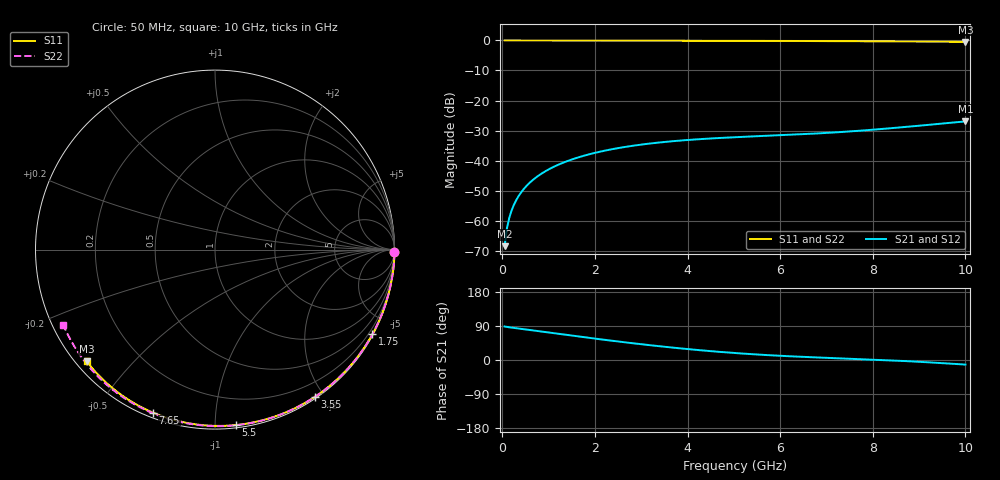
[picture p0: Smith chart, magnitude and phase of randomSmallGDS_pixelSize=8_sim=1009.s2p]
! freq	dB(S11)	phase(S11)	dB(S12)	phase(S12)
!  dB(S21)	phase(S21)	dB(S22)	phase(S22)
!S-par simulation data
#  GHz  S  DB  R 50
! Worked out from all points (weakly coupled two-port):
!   200 points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, 50 MHz to 10 GHz, reference 50 ohm
!   highest |S21| = -26.96 dB at 10 GHz (marker M1); lowest = -68.5 dB at 50 MHz (marker M2)
!   lowest |S11| = -0.5 dB at 10 GHz (marker M3), VSWR 37.50, Z = 1.52 - j18.7 ohm
!   |S11| at or under -10 dB: nowhere
!   |S22| runs from -0.5 to 0.0 dB; largest |S21 - S12| = 0
!   S11 on the Smith chart (normalised r, x): 50 MHz: open; 1.75 GHz: 0.04, -3.98; 3.55 GHz: 0.02, -1.89; 5.5 GHz: 0.02, -1.13; 7.65 GHz: 0.02, -0.69; 10 GHz: 0.03, -0.37
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0.05  -0.00 -0.8  -68.52 88.5  -68.52 88.5  -0.00 -0.9
0.1  -0.00 -1.6  -62.57 87.3  -62.57 87.3  -0.00 -1.8
0.15  -0.00 -2.5  -59.12 86.3  -59.12 86.3  -0.00 -2.7
0.2  -0.00 -3.3  -56.67 85.5  -56.67 85.5  -0.00 -3.7
0.25  -0.00 -4.1  -54.76 84.7  -54.76 84.7  -0.00 -4.6
0.35  -0.00 -5.7  -51.89 83.2  -51.89 83.2  -0.00 -6.4
0.5  -0.01 -8.2  -48.83 80.8  -48.83 80.8  -0.01 -9.1
0.7  -0.01 -11.4  -45.97 77.6  -45.97 77.6  -0.01 -12.7
1  -0.02 -16.3  -42.96 72.6  -42.96 72.6  -0.02 -18.1
1.35  -0.03 -21.9  -40.49 66.9  -40.49 66.9  -0.03 -24.4
1.75  -0.04 -28.2  -38.45 60.4  -38.45 60.4  -0.04 -31.4
2.5  -0.05 -39.9  -35.86 48.8  -35.86 48.8  -0.06 -44.4
3.4  -0.07 -53.5  -33.97 36.2  -33.97 36.2  -0.08 -59.4
3.55  -0.08 -55.8  -33.74 34.3  -33.74 34.3  -0.08 -61.8
4.3  -0.10 -66.6  -32.84 25.5  -32.84 25.5  -0.11 -73.8
5.05  -0.12 -77.1  -32.21 18.2  -32.21 18.2  -0.13 -85.3
5.5  -0.14 -83.2  -31.90 14.5  -31.90 14.5  -0.15 -92.0
6.7  -0.19 -99.0  -31.06 7.2  -31.06 7.2  -0.21 -109.2
7.65  -0.25 -110.8  -30.14 2.8  -30.14 2.8  -0.27 -122.2
8.35  -0.30 -119.4  -29.29 -0.8  -29.29 -0.8  -0.33 -131.6
9.2  -0.38 -129.5  -28.11 -6.1  -28.11 -6.1  -0.41 -143.0
10  -0.46 -139.0  -26.96 -12.1  -26.96 -12.1  -0.50 -153.7
